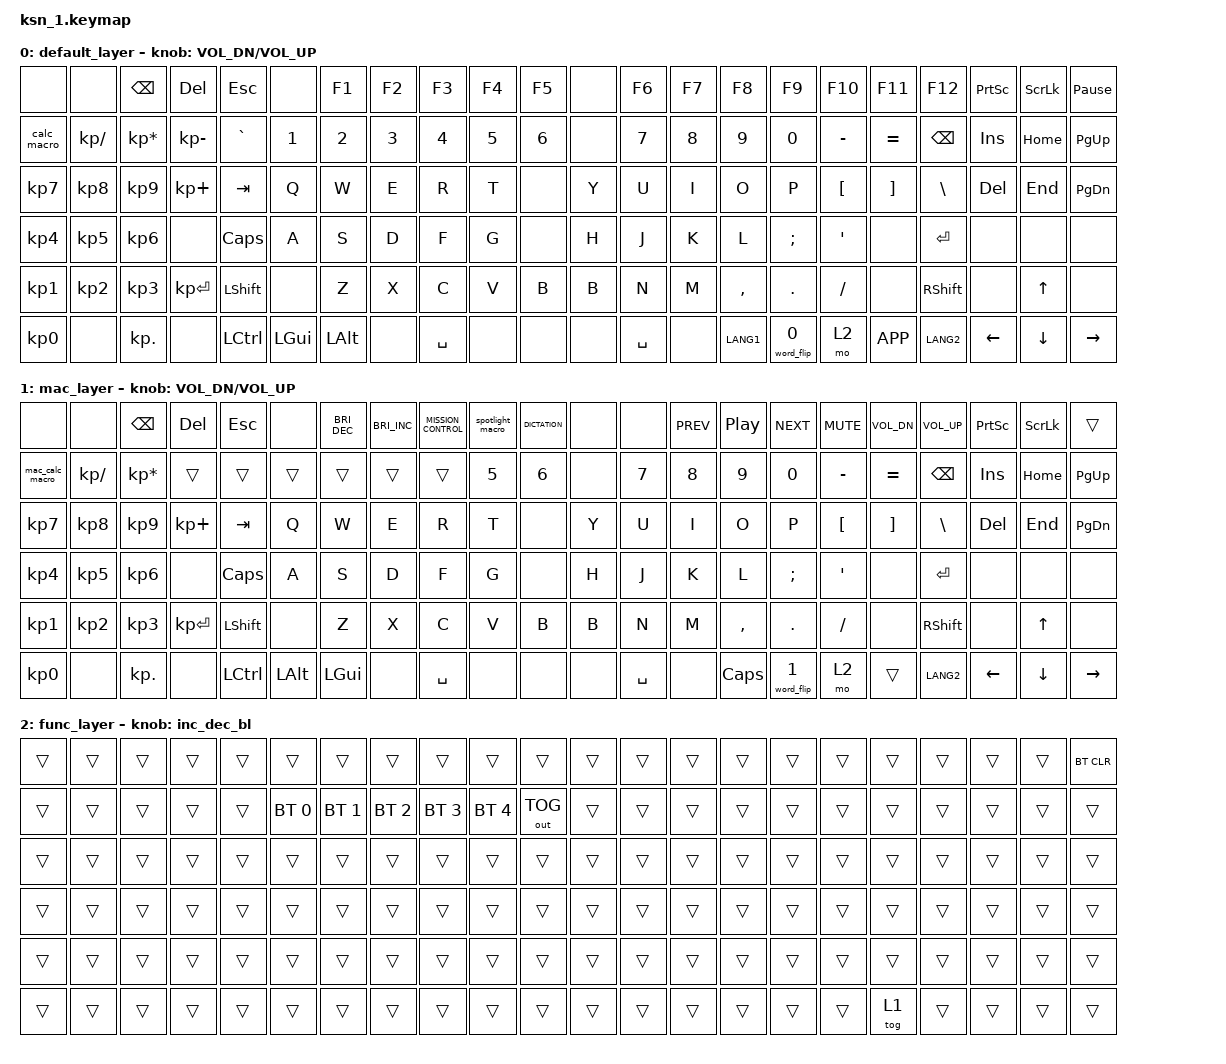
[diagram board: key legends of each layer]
#include <behaviors.dtsi>
#include <dt-bindings/zmk/keys.h>
#include <dt-bindings/zmk/bt.h>
// RGB underglow 제거됨
#include <dt-bindings/zmk/outputs.h>
#include <dt-bindings/zmk/backlight.h>

/* macOS F-row 전용 커스텀 consumer usage (ZMK 코어 keys.h에 없어 직접 정의):
   - C_MISSION_CONTROL: Consumer Page(0x0C) usage 0x29F. 공식 USB HID Usage
     Tables엔 없지만 QMK가 코어 키코드로 채택했고(KC_MISSION_CONTROL, PR #19884)
     macOS가 실제로 인식하는 값.
   - C_DICTATION: Consumer Page(0x0C) usage 0xD8. 공식 USB HID Usage Tables
     HUTRR99 "Start or Stop Voice Dictation Session" 표준 usage.
   F4(Spotlight)는 전용 HID usage가 불확실해 Cmd+Space 매크로(&spotlight_macro,
   아래 behaviors 참고)로 대체. F6(방해금지모드)은 실제 macOS가 보내는 코드가
   ZMK가 지원하지 않는 Generic Desktop 페이지(usage 0x9B)라 순정 방식 구현 불가 -
   확인 후 빈 키로 유지. */
#define C_MISSION_CONTROL ZMK_HID_USAGE(HID_USAGE_CONSUMER, 0x29F)
#define C_DICTATION       ZMK_HID_USAGE(HID_USAGE_CONSUMER, 0xD8)

/ {
    behaviors {
        /* 한/영 오타 자동 되돌리기 트리거. 파라미터: 0=Windows(Ctrl+Backspace),
           1=macOS(Option+Backspace). 실제 구현은 config/src/ksn1_word_flip.c 참고. */
        word_flip: word_flip {
            compatible = "ksn,behavior-word-flip";
            #binding-cells = <1>;
        };

        inc_dec_bl: inc_dec_bl {
            compatible = "zmk,behavior-sensor-rotate";
            #sensor-binding-cells = <0>;
            bindings = <&bl BL_INC>, <&bl BL_DEC>;
        };

        /* Windows 계산기 실행 매크로: GUI+R로 실행 대화상자를 연 뒤
           "calc"를 입력하고 Enter. 넘버패드 좌상단(Num 위치) 키에 바인딩됨 (default_layer). */
        calc_macro: calc_macro {
            compatible = "zmk,behavior-macro";
            #binding-cells = <0>;
            wait-ms = <30>;
            tap-ms = <40>;
            bindings
                = <&macro_press &kp LGUI>
                , <&macro_wait_time 100>
                , <&macro_tap &kp R>
                , <&macro_wait_time 100>
                , <&macro_release &kp LGUI>
                , <&macro_wait_time 300>
                , <&macro_tap &kp C &kp A &kp L &kp C &kp RET>
                ;
        };

        /* macOS 계산기 실행 매크로: Cmd+Space로 Spotlight를 연 뒤
           "calculator"를 입력하고 Enter. 넘버패드 좌상단(Num 위치) 키에
           바인딩됨 (mac_layer). Spotlight 인덱싱/애니메이션 시간을 고려해
           GUI+R 매크로보다 대기시간을 넉넉하게 둠. */
        mac_calc_macro: mac_calc_macro {
            compatible = "zmk,behavior-macro";
            #binding-cells = <0>;
            wait-ms = <30>;
            tap-ms = <40>;
            bindings
                = <&macro_press &kp LGUI>
                , <&macro_wait_time 100>
                , <&macro_tap &kp SPACE>
                , <&macro_wait_time 100>
                , <&macro_release &kp LGUI>
                , <&macro_wait_time 400>
                , <&macro_tap &kp C &kp A &kp L &kp C &kp U &kp L &kp A &kp T &kp O &kp R>
                , <&macro_wait_time 300>
                , <&macro_tap &kp RET>
                ;
        };

        /* macOS Spotlight 검색 실행 매크로 (Cmd+Space). F4 자리 전용(mac_layer) -
           2020년 이후 최신 맥 F4가 여는 것과 동일한 화면(Spotlight)을 염. */
        spotlight_macro: spotlight_macro {
            compatible = "zmk,behavior-macro";
            #binding-cells = <0>;
            wait-ms = <30>;
            tap-ms = <40>;
            bindings
                = <&macro_press &kp LGUI>
                , <&macro_wait_time 100>
                , <&macro_tap &kp SPACE>
                , <&macro_release &kp LGUI>
                ;
        };
    };

    keymap {
        compatible = "zmk,keymap";

        /* 오른쪽 스페이스바 우측 5키 (row5, col14~18) 배치 (2026-09-06 갱신 v2):
             LANG1(한/영)  word_flip(단어되돌리기)  mo 1(FN)  K_APP(메뉴)  LANG2(한자)
           default_layer / mac_layer 동일한 자리, param만 다름(0=Win/1=Mac).

           col16(옛 RGUI/Win 자리, 물리 스위치가 아예 없던 자리)은 한/영
           오타 자동 되돌리기용 트리거 키(&word_flip)였으나, 사용자 요청으로
           col15(FN 라벨이 있던 물리키)의 mo 1과 자리를 서로 바꿈: 이제
           col15=&word_flip, col16=&mo 2. 방금 입력한 단어를 지우고 반대
           언어로 재입력하는 동작 자체는 그대로 - 구현은
           config/src/ksn1_word_flip.c 참고.

           LANG1/LANG2는 전용 한/영·한자 키의 표준 HID usage(0x90/0x91)로,
           Windows 10 1809 이후에서 그대로 동작함. 단 macOS는 LANG1을 한/영
           전환으로 처리하지 않는다 - 일본어 JIS 가나 키(kVK_JIS_Kana)로
           해석해서 아무 일도 일어나지 않는다. Apple이 공식 문서에서 안내하는
           전환 방법은 Control+Space / Control+Option+Space / Caps Lock /
           Fn(지구본)뿐이다. 그래서 mac_layer의 col14만 &kp CLCK(Caps Lock)로
           둔다: 시스템 설정 - 키보드 - 입력 소스에서 "Caps Lock 키로 ABC 입력
           소스 전환"이 켜져 있으면, 짧게 누르면 한/영 전환 / 길게 누르면 실제
           Caps Lock으로 동작한다. mac_layer의 col18(한자, LANG2)도 같은 이유로
           macOS에서는 동작하지 않지만(맥의 한자 변환은 Option+Return),
           요청이 없어 그대로 둠.
           만약 회사 PC에서 한/영 전환이 안 되면 Windows 키보드 드라이버가
           "PC/AT 101키 호환 키보드(종류 1)"로 잡혀 있을 가능성이 큼
           (이 드라이버는 한/영=RALT, 한자=RCTRL로만 인식). 그 경우 장치
           관리자에서 "종류 3"으로 바꾸거나, col14/col18을 &kp RALT / &kp RCTRL
           로 되돌리면 됨.

           주의: 이 변경으로 오른쪽 RCTRL과 RGUI(Win) 둘 다 사라짐. Ctrl은
           왼쪽 col4(LCTRL), Win은 왼쪽 col5(LGUI)만 남음. */
        default_layer {
            sensor-bindings = <&inc_dec_kp C_VOL_DN C_VOL_UP>;
            bindings = <
                &none        &none           &kp BSPC        &kp DEL      &kp ESC      &none        &kp F1       &kp F2       &kp F3       &kp F4       &kp F5       &none        &kp F6       &kp F7       &kp F8       &kp F9       &kp F10      &kp F11      &kp F12      &kp PSCRN    &kp SCROLLLOCK  &kp PAUSE_BREAK
                &calc_macro  &kp KP_DIVIDE   &kp KP_MULTIPLY &kp KP_MINUS &kp GRAVE    &kp N1       &kp N2       &kp N3       &kp N4       &kp N5       &kp N6       &none        &kp N7       &kp N8       &kp N9       &kp N0       &kp MINUS    &kp EQUAL    &kp BSPC     &kp INS      &kp HOME        &kp PG_UP
                &kp KP_N7    &kp KP_N8       &kp KP_N9       &kp KP_PLUS  &kp TAB      &kp Q        &kp W        &kp E        &kp R        &kp T        &none        &kp Y        &kp U        &kp I        &kp O        &kp P        &kp LBKT     &kp RBKT     &kp BSLH     &kp DEL      &kp END         &kp PG_DN
                &kp KP_N4    &kp KP_N5       &kp KP_N6       &none        &kp CLCK     &kp A        &kp S        &kp D        &kp F        &kp G        &none        &kp H        &kp J        &kp K        &kp L        &kp SEMI     &kp SQT      &none        &kp RET      &none        &none           &none
                &kp KP_N1    &kp KP_N2       &kp KP_N3       &kp KP_ENTER &kp LSHFT    &none        &kp Z        &kp X        &kp C        &kp V        &kp B        &kp B        &kp N        &kp M        &kp COMMA    &kp DOT      &kp FSLH     &none        &kp RSHFT    &none        &kp UP          &none
                &kp KP_N0    &none           &kp KP_DOT      &none        &kp LCTRL    &kp LGUI     &kp LALT     &none        &kp SPACE    &none        &none        &none        &kp SPACE    &none        &kp LANG1    &word_flip 0        &mo 2 &kp K_APP    &kp LANG2    &kp LEFT     &kp DOWN        &kp RIGHT
            >;
        };

        mac_layer {
            sensor-bindings = <&inc_dec_kp C_VOL_DN C_VOL_UP>;
            bindings = <
                &none        &none           &kp BSPC        &kp DEL      &kp ESC      &none        &kp C_BRIGHTNESS_DEC &kp C_BRIGHTNESS_INC &kp C_MISSION_CONTROL &spotlight_macro &kp C_DICTATION &none        &none        &kp C_PREV   &kp C_PP     &kp C_NEXT   &kp C_MUTE   &kp C_VOL_DN &kp C_VOL_UP &kp PSCRN    &kp SCROLLLOCK  &trans
                &mac_calc_macro &kp KP_DIVIDE &kp KP_MULTIPLY &trans       &trans       &trans       &trans       &trans       &trans       &kp N5       &kp N6       &none        &kp N7       &kp N8       &kp N9       &kp N0       &kp MINUS    &kp EQUAL    &kp BSPC     &kp INS      &kp HOME        &kp PG_UP
                &kp KP_N7    &kp KP_N8       &kp KP_N9       &kp KP_PLUS  &kp TAB      &kp Q        &kp W        &kp E        &kp R        &kp T        &none        &kp Y        &kp U        &kp I        &kp O        &kp P        &kp LBKT     &kp RBKT     &kp BSLH     &kp DEL      &kp END         &kp PG_DN
                &kp KP_N4    &kp KP_N5       &kp KP_N6       &none        &kp CLCK     &kp A        &kp S        &kp D        &kp F        &kp G        &none        &kp H        &kp J        &kp K        &kp L        &kp SEMI     &kp SQT      &none        &kp RET      &none        &none           &none
                &kp KP_N1    &kp KP_N2       &kp KP_N3       &kp KP_ENTER &kp LSHFT    &none        &kp Z        &kp X        &kp C        &kp V        &kp B        &kp B        &kp N        &kp M        &kp COMMA    &kp DOT      &kp FSLH     &none        &kp RSHFT    &none        &kp UP          &none
                &kp KP_N0    &none           &kp KP_DOT      &none        &kp LCTRL    &kp LALT     &kp LGUI     &none        &kp SPACE    &none        &none        &none        &kp SPACE    &none        &kp CLCK     &word_flip 1       &mo 2 &trans          &kp LANG2    &kp LEFT     &kp DOWN        &kp RIGHT
            >;
        };

        /* 레이어 순서: default(0) → mac(1) → func(2).
           func_layer를 맨 위에 두어 FN(&mo 2)을 누르면 Windows/Mac 모드와 관계없이 항상 이 레이어가
           우선한다(ZMK는 켜진 레이어 중 번호가 높은 것부터 확인). &trans 자리는 아래 레이어로 통과하므로
           FN 없이 누른 키는 그대로 mac_layer/default_layer 동작을 한다. Mac 모드 전환은 &tog 1. */
        func_layer {
            sensor-bindings = <&inc_dec_bl>;
            bindings = <
                &trans       &trans       &trans       &trans       &trans       &trans          &trans          &trans          &trans          &trans          &trans       &trans       &trans       &trans       &trans       &trans       &trans       &trans       &trans       &trans       &trans       &bt BT_CLR
                &trans       &trans       &trans       &trans       &trans       &bt BT_SEL 0   &bt BT_SEL 1   &bt BT_SEL 2   &bt BT_SEL 3   &bt BT_SEL 4    &out OUT_TOG &trans       &trans       &trans       &trans       &trans       &trans       &trans       &trans       &trans       &trans       &trans
                &trans       &trans       &trans       &trans       &trans       &trans       &trans       &trans       &trans          &trans          &trans       &trans       &trans       &trans       &trans       &trans       &trans       &trans       &trans       &trans       &trans       &trans
                &trans       &trans       &trans       &trans       &trans       &trans       &trans       &trans       &trans       &trans          &trans       &trans       &trans       &trans       &trans       &trans       &trans       &trans       &trans       &trans       &trans       &trans
                &trans       &trans       &trans       &trans       &trans       &trans          &trans          &trans          &trans       &trans       &trans       &trans       &trans       &trans       &trans       &trans       &trans       &trans       &trans       &trans       &trans       &trans
                &trans       &trans       &trans       &trans       &trans       &trans          &trans          &trans          &trans          &trans          &trans       &trans       &trans       &trans       &trans       &trans       &trans       &tog 1       &trans       &trans       &trans       &trans
            >;
        };
    };
};
